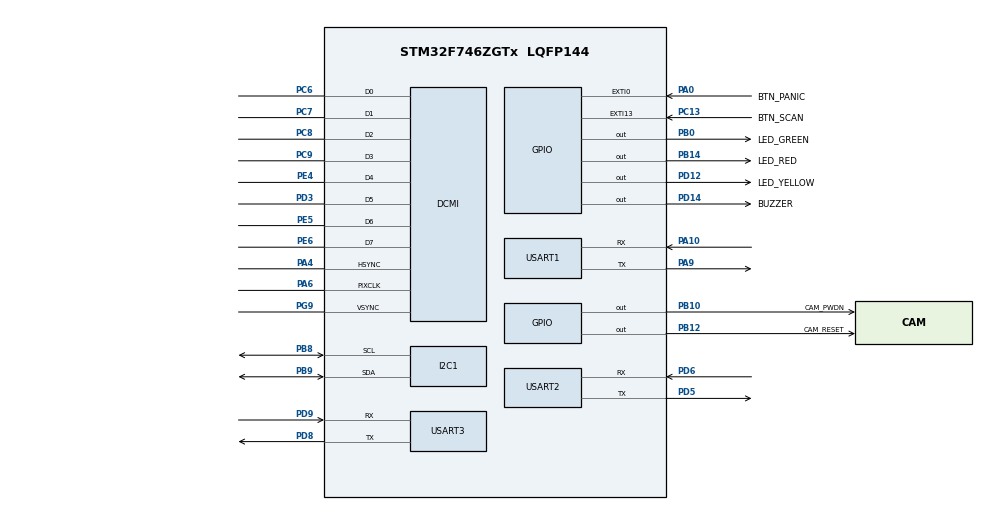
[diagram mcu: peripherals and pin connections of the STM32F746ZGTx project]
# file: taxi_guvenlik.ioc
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CORTEX_M7.default_mode_Activation=1
Dma.DCMI.0.Direction=DMA_PERIPH_TO_MEMORY
Dma.DCMI.0.FIFOMode=DMA_FIFOMODE_ENABLE
Dma.DCMI.0.FIFOThreshold=DMA_FIFO_THRESHOLD_FULL
Dma.DCMI.0.Instance=DMA2_Stream1
Dma.DCMI.0.MemBurst=DMA_MBURST_SINGLE
Dma.DCMI.0.MemDataAlignment=DMA_MDATAALIGN_WORD
Dma.DCMI.0.MemInc=DMA_MINC_ENABLE
Dma.DCMI.0.Mode=DMA_NORMAL
Dma.DCMI.0.PeriphBurst=DMA_PBURST_SINGLE
Dma.DCMI.0.PeriphDataAlignment=DMA_PDATAALIGN_WORD
Dma.DCMI.0.PeriphInc=DMA_PINC_DISABLE
Dma.DCMI.0.Priority=DMA_PRIORITY_HIGH
Dma.Request0=DCMI
Mcu.Family=STM32F7
Mcu.Name=STM32F746ZGTx
Mcu.Package=LQFP144
NVIC.DCMI_IRQn=true\:0\:0\:false\:false\:true\:true\:true\:true
NVIC.DMA2_Stream1_IRQn=true\:0\:0\:false\:false\:true\:false\:true\:true
NVIC.EXTI0_IRQn=true\:0\:0\:false\:false\:true\:true\:true\:true
NVIC.EXTI15_10_IRQn=true\:0\:0\:false\:false\:true\:true\:true\:true
NVIC.PriorityGroup=NVIC_PRIORITYGROUP_4
NVIC.USART1_IRQn=true\:0\:0\:false\:false\:true\:true\:true\:true
NVIC.USART2_IRQn=true\:0\:0\:false\:false\:true\:true\:true\:true
NVIC.USART3_IRQn=true\:0\:0\:false\:false\:true\:true\:true\:true
PA0/WKUP.GPIO_Label=BTN_PANIC
PA0/WKUP.Signal=GPXTI0
PA10.Mode=Asynchronous
PA10.Signal=USART1_RX
PA4.Mode=Slave_8_bits_External_Synchro
PA4.Signal=DCMI_HSYNC
PA6.Mode=Slave_8_bits_External_Synchro
PA6.Signal=DCMI_PIXCLK
PA9.Mode=Asynchronous
PA9.Signal=USART1_TX
PB0.GPIO_Label=LED_GREEN
PB0.Signal=GPIO_Output
PB10.GPIO_Label=CAM_PWDN
PB10.Signal=GPIO_Output
PB12.GPIO_Label=CAM_RESET
PB12.Signal=GPIO_Output
PB14.GPIO_Label=LED_RED
PB14.Signal=GPIO_Output
PB8.Mode=I2C
PB8.Signal=I2C1_SCL
PB9.Mode=I2C
PB9.Signal=I2C1_SDA
PC13.GPIO_Label=BTN_SCAN
PC13.Signal=GPXTI13
PC6.Mode=Slave_8_bits_External_Synchro
PC6.Signal=DCMI_D0
PC7.Mode=Slave_8_bits_External_Synchro
PC7.Signal=DCMI_D1
PC8.Mode=Slave_8_bits_External_Synchro
PC8.Signal=DCMI_D2
PC9.Mode=Slave_8_bits_External_Synchro
PC9.Signal=DCMI_D3
PD12.GPIO_Label=LED_YELLOW
PD12.Signal=GPIO_Output
PD14.GPIO_Label=BUZZER
PD14.Signal=GPIO_Output
PD3.Mode=Slave_8_bits_External_Synchro
PD3.Signal=DCMI_D5
PD5.Mode=Asynchronous
PD5.Signal=USART2_TX
PD6.Mode=Asynchronous
PD6.Signal=USART2_RX
PD8.Mode=Asynchronous
PD8.Signal=USART3_TX
PD9.Mode=Asynchronous
PD9.Signal=USART3_RX
PE4.Mode=Slave_8_bits_External_Synchro
PE4.Signal=DCMI_D4
PE5.Mode=Slave_8_bits_External_Synchro
PE5.Signal=DCMI_D6
PE6.Mode=Slave_8_bits_External_Synchro
PE6.Signal=DCMI_D7
PG9.Mode=Slave_8_bits_External_Synchro
PG9.Signal=DCMI_VSYNC
ProjectManager.HeapSize=0x200
ProjectManager.StackSize=0x400
ProjectManager.TargetToolchain=STM32CubeIDE
RCC.HSE_VALUE=25000000
RCC.HSI_VALUE=16000000
RCC.LSE_VALUE=32768
RCC.USBFreq_Value=96000000
RCC.VCOOutputFreq_Value=192000000
USART1.VirtualMode-Asynchronous=VM_ASYNC
USART2.VirtualMode-Asynchronous=VM_ASYNC
USART3.VirtualMode-Asynchronous=VM_ASYNC
board=custom

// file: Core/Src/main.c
/* USER CODE BEGIN Header */
/**
  ******************************************************************************
  * @file           : main.c
  * @brief          : Main program body
  ******************************************************************************
  * @attention
  *
  * Copyright (c) 2026 STMicroelectronics.
  * All rights reserved.
  *
  * This software is licensed under terms that can be found in the LICENSE file
  * in the root directory of this software component.
  * If no LICENSE file comes with this software, it is provided AS-IS.
  *
  ******************************************************************************
  */
/* USER CODE END Header */
#include "main.h"

/* USER CODE BEGIN Includes */
#include <stdio.h>
#include <stdlib.h>
#include <string.h>
#include <stdbool.h>
/* USER CODE END Includes */

DCMI_HandleTypeDef hdcmi;
DMA_HandleTypeDef hdma_dcmi;

I2C_HandleTypeDef hi2c1;

UART_HandleTypeDef huart1;
UART_HandleTypeDef huart2;
UART_HandleTypeDef huart3;

/* USER CODE BEGIN PV */

/* Application state machine. Single-passenger flow: TARA → SCAN → MATCH/NOMATCH → IDLE.
 * PANIC button bypasses scan and goes straight to alert. */
typedef enum {
    STATE_IDLE = 0,
    STATE_SCANNING,
    STATE_MATCH,
    STATE_NOMATCH,
    STATE_PANIC,
    STATE_NETERR,
} app_state_t;

static volatile app_state_t app_state = STATE_IDLE;
static uint32_t state_entered_ms = 0;
static char match_name[48] = {0};
static float match_sim = 0.0f;

/* USART6 = ESP32-CAM uplink. We hand-configure USART6 instead of CubeMX's
 * USART1 because PG14/PG9 are wired to the NUCLEO-F767ZI Arduino D1/D0
 * silkscreen pads — far easier for users to identify than the Morpho-only
 * PA9/PA10. huart1 stays initialized by CubeMX (no harm) but is unused. */
UART_HandleTypeDef huart6;
static uint8_t cam_rxb = 0;
static char cam_line[96];
static volatile size_t cam_idx = 0;
static volatile bool cam_line_ready = false;

/* Pending event flags set from EXTI ISR, consumed in main loop. */
static volatile bool flag_tara = false;
static volatile bool flag_panic = false;

#define SCAN_TIMEOUT_MS    15000  /* ESP-CAM should answer within this. */
#define MATCH_HOLD_MS       5000  /* How long to hold red+buzzer on MATCH. */
#define NOMATCH_HOLD_MS     1000
#define PANIC_HOLD_MS       5000
#define NETERR_HOLD_MS      3000

/* USER CODE END PV */

void SystemClock_Config(void);
static void MPU_Config(void);
static void MX_GPIO_Init(void);
static void MX_DMA_Init(void);
static void MX_DCMI_Init(void);
static void MX_I2C1_Init(void);
static void MX_USART1_UART_Init(void);
static void MX_USART2_UART_Init(void);
static void MX_USART3_UART_Init(void);
/* USER CODE BEGIN PFP */
static void SystemClock_Config_216MHz(void);
static void uart_set_baud(UART_HandleTypeDef *huart, uint32_t baud);
static void MX_USART6_UART_Init_Manual(void);  /* hand-rolled USART6 setup */
static void enter_state(app_state_t s);
static void apply_state_outputs(app_state_t s);
static void send_cam(const char *line);     /* USART6 (Arduino D0/D1) → ESP32-CAM */
static void send_phone(const char *line);   /* USART2 → HM-10 → Android */
static void process_cam_line(const char *line);
int _write(int fd, char *ptr, int len);     /* printf retarget to USART3 */
/* USER CODE END PFP */

int main(void)
{

  /* MPU Configuration--------------------------------------------------------*/
  MPU_Config();

  /* MCU Configuration--------------------------------------------------------*/

  /* Reset of all peripherals, Initializes the Flash interface and the Systick. */
  HAL_Init();

  /* Configure the system clock */
  SystemClock_Config();           /* CubeMX baseline (HSI 16 MHz, no PLL) */
  SystemClock_Config_216MHz();    /* HSI × PLL → 216 MHz */

  /* Initialize all configured peripherals */
  MX_GPIO_Init();
  MX_DMA_Init();
  MX_DCMI_Init();
  MX_I2C1_Init();
  MX_USART1_UART_Init();
  MX_USART2_UART_Init();
  MX_USART3_UART_Init();
  /* USER CODE BEGIN 2 */

  /* USART baud overrides — CubeMX hard-codes 115200 across the board.
   *   USART2 → HM-10 BLE      : 9600   (HM-10 default)
   *   USART3 → ST-LINK VCP    : 115200 (printf debug, unchanged)
   *   USART6 → ESP32-CAM      : configured below at 115200, Arduino D0/D1 pins
   * huart1 is left at 115200 by CubeMX; we don't use it (kept to avoid touching
   * generated MX_USART1_UART_Init).
   */
  uart_set_baud(&huart2, 9600);
  uart_set_baud(&huart3, 115200);
  MX_USART6_UART_Init_Manual();

  /* Configure onboard LD2 blue LED (PB7) as heartbeat — visible without
   * external wiring. CubeMX didn't map PB7. */
  {
      GPIO_InitTypeDef gp = {0};
      gp.Pin = GPIO_PIN_7;
      gp.Mode = GPIO_MODE_OUTPUT_PP;
      gp.Pull = GPIO_NOPULL;
      gp.Speed = GPIO_SPEED_FREQ_LOW;
      HAL_GPIO_Init(GPIOB, &gp);
  }

  setvbuf(stdout, NULL, _IONBF, 0);
  printf("\r\n[STM] boot, HCLK=%lu Hz, plan-B (esp-cam slave)\r\n",
         HAL_RCC_GetHCLKFreq());

  /* Camera control pins are no longer wired to anything in Plan B but the
   * GPIO outputs still exist (CubeMX-generated). Leave them low/idle. */
  HAL_GPIO_WritePin(CAM_PWDN_GPIO_Port, CAM_PWDN_Pin, GPIO_PIN_RESET);
  HAL_GPIO_WritePin(CAM_RESET_GPIO_Port, CAM_RESET_Pin, GPIO_PIN_RESET);

  /* Start USART6 line reception from ESP32-CAM (Arduino D0 = PG9 RX). */
  HAL_UART_Receive_IT(&huart6, &cam_rxb, 1);

  enter_state(STATE_IDLE);
  /* USER CODE END 2 */

  /* Infinite loop */
  /* USER CODE BEGIN WHILE */
  while (1)
  {
    /* Heartbeat for "firmware alive" — blink LD2 (PB7) every 500 ms. */
    static uint32_t last_blink = 0;
    uint32_t now = HAL_GetTick();
    if (now - last_blink >= 500) {
        HAL_GPIO_TogglePin(GPIOB, GPIO_PIN_7);
        last_blink = now;
    }

    /* Button events from EXTI. */
    if (flag_panic) {
        flag_panic = false;
        printf("[STM] PANIC button pressed\r\n");
        send_phone("PANIC\n");
        enter_state(STATE_PANIC);
    }
    if (flag_tara) {
        flag_tara = false;
        if (app_state == STATE_IDLE) {
            printf("[STM] TARA pressed, requesting capture\r\n");
            send_phone("SCANNING\n");
            send_cam("CAPTURE\n");
            enter_state(STATE_SCANNING);
        } else {
            printf("[STM] TARA ignored (state=%d)\r\n", app_state);
        }
    }

    /* ESP32-CAM lines on USART6 (Arduino D0 RX). */
    if (cam_line_ready) {
        process_cam_line(cam_line);
        cam_idx = 0;
        cam_line_ready = false;
    }

    /* Scan timeout: if ESP-CAM doesn't answer in time, drop to NETERR. */
    if (app_state == STATE_SCANNING &&
        (now - state_entered_ms) > SCAN_TIMEOUT_MS) {
        printf("[STM] scan timeout\r\n");
        send_phone("NETERR\n");
        enter_state(STATE_NETERR);
    }

    /* Auto-return to IDLE after hold period for transient states. */
    uint32_t elapsed = now - state_entered_ms;
    if ((app_state == STATE_MATCH   && elapsed > MATCH_HOLD_MS)   ||
        (app_state == STATE_NOMATCH && elapsed > NOMATCH_HOLD_MS) ||
        (app_state == STATE_PANIC   && elapsed > PANIC_HOLD_MS)   ||
        (app_state == STATE_NETERR  && elapsed > NETERR_HOLD_MS)) {
        enter_state(STATE_IDLE);
    }
    /* USER CODE END WHILE */

  }
}

void SystemClock_Config(void)
{
  RCC_OscInitTypeDef RCC_OscInitStruct = {0};
  RCC_ClkInitTypeDef RCC_ClkInitStruct = {0};

  /** Configure the main internal regulator output voltage
  */
  __HAL_RCC_PWR_CLK_ENABLE();
  __HAL_PWR_VOLTAGESCALING_CONFIG(PWR_REGULATOR_VOLTAGE_SCALE3);

  /** Initializes the RCC Oscillators according to the specified parameters
  * in the RCC_OscInitTypeDef structure.
  */
  RCC_OscInitStruct.OscillatorType = RCC_OSCILLATORTYPE_HSI;
  RCC_OscInitStruct.HSIState = RCC_HSI_ON;
  RCC_OscInitStruct.HSICalibrationValue = RCC_HSICALIBRATION_DEFAULT;
  RCC_OscInitStruct.PLL.PLLState = RCC_PLL_NONE;
  if (HAL_RCC_OscConfig(&RCC_OscInitStruct) != HAL_OK)
  {
    Error_Handler();
  }

  /** Initializes the CPU, AHB and APB buses clocks
  */
  RCC_ClkInitStruct.ClockType = RCC_CLOCKTYPE_HCLK|RCC_CLOCKTYPE_SYSCLK
                              |RCC_CLOCKTYPE_PCLK1|RCC_CLOCKTYPE_PCLK2;
  RCC_ClkInitStruct.SYSCLKSource = RCC_SYSCLKSOURCE_HSI;
  RCC_ClkInitStruct.AHBCLKDivider = RCC_SYSCLK_DIV1;
  RCC_ClkInitStruct.APB1CLKDivider = RCC_HCLK_DIV1;
  RCC_ClkInitStruct.APB2CLKDivider = RCC_HCLK_DIV1;

  if (HAL_RCC_ClockConfig(&RCC_ClkInitStruct, FLASH_LATENCY_0) != HAL_OK)
  {
    Error_Handler();
  }
}

static void MX_DCMI_Init(void)
{

  hdcmi.Instance = DCMI;
  hdcmi.Init.SynchroMode = DCMI_SYNCHRO_HARDWARE;
  hdcmi.Init.PCKPolarity = DCMI_PCKPOLARITY_FALLING;
  hdcmi.Init.VSPolarity = DCMI_VSPOLARITY_LOW;
  hdcmi.Init.HSPolarity = DCMI_HSPOLARITY_LOW;
  hdcmi.Init.CaptureRate = DCMI_CR_ALL_FRAME;
  hdcmi.Init.ExtendedDataMode = DCMI_EXTEND_DATA_8B;
  hdcmi.Init.JPEGMode = DCMI_JPEG_DISABLE;
  hdcmi.Init.ByteSelectMode = DCMI_BSM_ALL;
  hdcmi.Init.ByteSelectStart = DCMI_OEBS_ODD;
  hdcmi.Init.LineSelectMode = DCMI_LSM_ALL;
  hdcmi.Init.LineSelectStart = DCMI_OELS_ODD;
  if (HAL_DCMI_Init(&hdcmi) != HAL_OK)
  {
    Error_Handler();
  }

}

static void MX_I2C1_Init(void)
{

  hi2c1.Instance = I2C1;
  hi2c1.Init.Timing = 0x00303D5B;
  hi2c1.Init.OwnAddress1 = 0;
  hi2c1.Init.AddressingMode = I2C_ADDRESSINGMODE_7BIT;
  hi2c1.Init.DualAddressMode = I2C_DUALADDRESS_DISABLE;
  hi2c1.Init.OwnAddress2 = 0;
  hi2c1.Init.OwnAddress2Masks = I2C_OA2_NOMASK;
  hi2c1.Init.GeneralCallMode = I2C_GENERALCALL_DISABLE;
  hi2c1.Init.NoStretchMode = I2C_NOSTRETCH_DISABLE;
  if (HAL_I2C_Init(&hi2c1) != HAL_OK)
  {
    Error_Handler();
  }

  /** Configure Analogue filter
  */
  if (HAL_I2CEx_ConfigAnalogFilter(&hi2c1, I2C_ANALOGFILTER_ENABLE) != HAL_OK)
  {
    Error_Handler();
  }

  /** Configure Digital filter
  */
  if (HAL_I2CEx_ConfigDigitalFilter(&hi2c1, 0) != HAL_OK)
  {
    Error_Handler();
  }

}

static void MX_USART1_UART_Init(void)
{

  huart1.Instance = USART1;
  huart1.Init.BaudRate = 115200;
  huart1.Init.WordLength = UART_WORDLENGTH_8B;
  huart1.Init.StopBits = UART_STOPBITS_1;
  huart1.Init.Parity = UART_PARITY_NONE;
  huart1.Init.Mode = UART_MODE_TX_RX;
  huart1.Init.HwFlowCtl = UART_HWCONTROL_NONE;
  huart1.Init.OverSampling = UART_OVERSAMPLING_16;
  huart1.Init.OneBitSampling = UART_ONE_BIT_SAMPLE_DISABLE;
  huart1.AdvancedInit.AdvFeatureInit = UART_ADVFEATURE_NO_INIT;
  if (HAL_UART_Init(&huart1) != HAL_OK)
  {
    Error_Handler();
  }

}

static void MX_USART2_UART_Init(void)
{

  huart2.Instance = USART2;
  huart2.Init.BaudRate = 115200;
  huart2.Init.WordLength = UART_WORDLENGTH_8B;
  huart2.Init.StopBits = UART_STOPBITS_1;
  huart2.Init.Parity = UART_PARITY_NONE;
  huart2.Init.Mode = UART_MODE_TX_RX;
  huart2.Init.HwFlowCtl = UART_HWCONTROL_NONE;
  huart2.Init.OverSampling = UART_OVERSAMPLING_16;
  huart2.Init.OneBitSampling = UART_ONE_BIT_SAMPLE_DISABLE;
  huart2.AdvancedInit.AdvFeatureInit = UART_ADVFEATURE_NO_INIT;
  if (HAL_UART_Init(&huart2) != HAL_OK)
  {
    Error_Handler();
  }

}

static void MX_USART3_UART_Init(void)
{

  huart3.Instance = USART3;
  huart3.Init.BaudRate = 115200;
  huart3.Init.WordLength = UART_WORDLENGTH_8B;
  huart3.Init.StopBits = UART_STOPBITS_1;
  huart3.Init.Parity = UART_PARITY_NONE;
  huart3.Init.Mode = UART_MODE_TX_RX;
  huart3.Init.HwFlowCtl = UART_HWCONTROL_NONE;
  huart3.Init.OverSampling = UART_OVERSAMPLING_16;
  huart3.Init.OneBitSampling = UART_ONE_BIT_SAMPLE_DISABLE;
  huart3.AdvancedInit.AdvFeatureInit = UART_ADVFEATURE_NO_INIT;
  if (HAL_UART_Init(&huart3) != HAL_OK)
  {
    Error_Handler();
  }

}

static void MX_DMA_Init(void)
{

  /* DMA controller clock enable */
  __HAL_RCC_DMA2_CLK_ENABLE();

  /* DMA interrupt init */
  /* DMA2_Stream1_IRQn interrupt configuration */
  HAL_NVIC_SetPriority(DMA2_Stream1_IRQn, 0, 0);
  HAL_NVIC_EnableIRQ(DMA2_Stream1_IRQn);

}

static void MX_GPIO_Init(void)
{
  GPIO_InitTypeDef GPIO_InitStruct = {0};

  /* GPIO Ports Clock Enable */
  __HAL_RCC_GPIOE_CLK_ENABLE();
  __HAL_RCC_GPIOC_CLK_ENABLE();
  __HAL_RCC_GPIOA_CLK_ENABLE();
  __HAL_RCC_GPIOB_CLK_ENABLE();
  __HAL_RCC_GPIOD_CLK_ENABLE();
  __HAL_RCC_GPIOG_CLK_ENABLE();

  /*Configure GPIO pin Output Level */
  HAL_GPIO_WritePin(GPIOB, LED_GREEN_Pin|CAM_PWDN_Pin|CAM_RESET_Pin|LED_RED_Pin, GPIO_PIN_RESET);

  /*Configure GPIO pin Output Level */
  HAL_GPIO_WritePin(GPIOD, LED_YELLOW_Pin|BUZZER_Pin, GPIO_PIN_RESET);

  /*Configure GPIO pin : BTN_SCAN_Pin */
  GPIO_InitStruct.Pin = BTN_SCAN_Pin;
  GPIO_InitStruct.Mode = GPIO_MODE_IT_RISING;
  GPIO_InitStruct.Pull = GPIO_NOPULL;
  HAL_GPIO_Init(BTN_SCAN_GPIO_Port, &GPIO_InitStruct);

  /*Configure GPIO pin : BTN_PANIC_Pin */
  GPIO_InitStruct.Pin = BTN_PANIC_Pin;
  GPIO_InitStruct.Mode = GPIO_MODE_IT_RISING;
  GPIO_InitStruct.Pull = GPIO_NOPULL;
  HAL_GPIO_Init(BTN_PANIC_GPIO_Port, &GPIO_InitStruct);

  /*Configure GPIO pins : LED_GREEN_Pin CAM_PWDN_Pin CAM_RESET_Pin LED_RED_Pin */
  GPIO_InitStruct.Pin = LED_GREEN_Pin|CAM_PWDN_Pin|CAM_RESET_Pin|LED_RED_Pin;
  GPIO_InitStruct.Mode = GPIO_MODE_OUTPUT_PP;
  GPIO_InitStruct.Pull = GPIO_NOPULL;
  GPIO_InitStruct.Speed = GPIO_SPEED_FREQ_LOW;
  HAL_GPIO_Init(GPIOB, &GPIO_InitStruct);

  /*Configure GPIO pins : LED_YELLOW_Pin BUZZER_Pin */
  GPIO_InitStruct.Pin = LED_YELLOW_Pin|BUZZER_Pin;
  GPIO_InitStruct.Mode = GPIO_MODE_OUTPUT_PP;
  GPIO_InitStruct.Pull = GPIO_NOPULL;
  GPIO_InitStruct.Speed = GPIO_SPEED_FREQ_LOW;
  HAL_GPIO_Init(GPIOD, &GPIO_InitStruct);

  /* EXTI interrupt init*/
  HAL_NVIC_SetPriority(EXTI0_IRQn, 0, 0);
  HAL_NVIC_EnableIRQ(EXTI0_IRQn);

  HAL_NVIC_SetPriority(EXTI15_10_IRQn, 0, 0);
  HAL_NVIC_EnableIRQ(EXTI15_10_IRQn);

}

/* USER CODE BEGIN 4 */

/* HSI 16 MHz + PLL → 216 MHz HCLK with overdrive.
 *
 * Previous attempt used HSE bypass off NUCLEO's 8 MHz MCO. That worked
 * electrically but HAL's HSE_VALUE macro is hard-coded to 25 MHz in
 * stm32f7xx_hal_conf.h, so HAL_RCC_GetSysClockFreq() returned ~675 MHz and
 * every BRR/timer calculation derived from SystemCoreClock was off by ~3x.
 * Switching to HSI as the PLL source removes that dependency entirely —
 * HSI_VALUE matches the hardware and clock calculations stay correct.
 *
 * HSI = 16 MHz, PLLM = 16 → 1 MHz reference, PLLN = 432 → 432 MHz VCO,
 * PLLP = 2 → SYSCLK = 216 MHz. PLLQ = 9 → 48 MHz (USB OTG, unused).
 * APB1 = HCLK/4 = 54 MHz, APB2 = HCLK/2 = 108 MHz, Flash 7 wait states.
 */
static void SystemClock_Config_216MHz(void) {
    RCC_OscInitTypeDef osc = {0};
    RCC_ClkInitTypeDef clk = {0};

    __HAL_RCC_PWR_CLK_ENABLE();
    __HAL_PWR_VOLTAGESCALING_CONFIG(PWR_REGULATOR_VOLTAGE_SCALE1);

    osc.OscillatorType = RCC_OSCILLATORTYPE_HSI;
    osc.HSIState = RCC_HSI_ON;
    osc.HSICalibrationValue = RCC_HSICALIBRATION_DEFAULT;
    osc.PLL.PLLState = RCC_PLL_ON;
    osc.PLL.PLLSource = RCC_PLLSOURCE_HSI;
    osc.PLL.PLLM = 16;
    osc.PLL.PLLN = 432;
    osc.PLL.PLLP = RCC_PLLP_DIV2;
    osc.PLL.PLLQ = 9;
    if (HAL_RCC_OscConfig(&osc) != HAL_OK) {
        Error_Handler();
    }
    if (HAL_PWREx_EnableOverDrive() != HAL_OK) {
        Error_Handler();
    }

    clk.ClockType = RCC_CLOCKTYPE_HCLK | RCC_CLOCKTYPE_SYSCLK |
                    RCC_CLOCKTYPE_PCLK1 | RCC_CLOCKTYPE_PCLK2;
    clk.SYSCLKSource = RCC_SYSCLKSOURCE_PLLCLK;
    clk.AHBCLKDivider = RCC_SYSCLK_DIV1;
    clk.APB1CLKDivider = RCC_HCLK_DIV4;
    clk.APB2CLKDivider = RCC_HCLK_DIV2;
    if (HAL_RCC_ClockConfig(&clk, FLASH_LATENCY_7) != HAL_OK) {
        Error_Handler();
    }

    SystemCoreClockUpdate();  /* re-derive SystemCoreClock from RCC registers */
}

/* Re-init a UART with a different baud rate without touching anything else.
 * Used to override CubeMX's default 115200 on USART1 (→921600 for ESP32)
 * and USART2 (→9600 for HM-10). */
static void uart_set_baud(UART_HandleTypeDef *huart, uint32_t baud) {
    HAL_UART_DeInit(huart);
    huart->Init.BaudRate = baud;
    HAL_UART_Init(huart);
}

/* printf retarget. Newlib-nano _write goes to USART3 (ST-LINK VCP), so anything
 * printed from firmware shows up on /dev/tty.usbmodemXXXX at 115200 8N1. */
int _write(int fd, char *ptr, int len) {
    (void)fd;
    HAL_UART_Transmit(&huart3, (uint8_t *)ptr, len, 100);
    return len;
}

/* ─── state machine ─── */

static void apply_state_outputs(app_state_t s) {
    /* Reset everything, then set what this state wants on. */
    HAL_GPIO_WritePin(LED_GREEN_GPIO_Port,  LED_GREEN_Pin,  GPIO_PIN_RESET);
    HAL_GPIO_WritePin(LED_RED_GPIO_Port,    LED_RED_Pin,    GPIO_PIN_RESET);
    HAL_GPIO_WritePin(LED_YELLOW_GPIO_Port, LED_YELLOW_Pin, GPIO_PIN_RESET);
    HAL_GPIO_WritePin(BUZZER_GPIO_Port,     BUZZER_Pin,     GPIO_PIN_RESET);

    switch (s) {
    case STATE_IDLE:
        HAL_GPIO_WritePin(LED_GREEN_GPIO_Port, LED_GREEN_Pin, GPIO_PIN_SET);
        break;
    case STATE_SCANNING:
        HAL_GPIO_WritePin(LED_YELLOW_GPIO_Port, LED_YELLOW_Pin, GPIO_PIN_SET);
        break;
    case STATE_MATCH:
    case STATE_PANIC:
        HAL_GPIO_WritePin(LED_RED_GPIO_Port, LED_RED_Pin, GPIO_PIN_SET);
        HAL_GPIO_WritePin(BUZZER_GPIO_Port,  BUZZER_Pin,  GPIO_PIN_SET);
        break;
    case STATE_NOMATCH:
        HAL_GPIO_WritePin(LED_GREEN_GPIO_Port, LED_GREEN_Pin, GPIO_PIN_SET);
        break;
    case STATE_NETERR:
        HAL_GPIO_WritePin(LED_YELLOW_GPIO_Port, LED_YELLOW_Pin, GPIO_PIN_SET);
        HAL_GPIO_WritePin(LED_RED_GPIO_Port,    LED_RED_Pin,    GPIO_PIN_SET);
        break;
    }
}

static void enter_state(app_state_t s) {
    app_state = s;
    state_entered_ms = HAL_GetTick();
    apply_state_outputs(s);
    static const char *names[] = {
        "IDLE","SCANNING","MATCH","NOMATCH","PANIC","NETERR"
    };
    printf("[STM] -> %s\r\n", names[s]);
}

static void send_cam(const char *line) {
    HAL_UART_Transmit(&huart6, (uint8_t*)line, strlen(line), 200);
}

static void send_phone(const char *line) {
    /* Plan B v2: HM-10 is gone. Phone messages now go to ESP32-CAM over the
     * same USART6 link as CAPTURE; ESP-CAM forwards them as BLE notifications
     * on FFE0/FFE1, replacing the HM-10 path. */
    HAL_UART_Transmit(&huart6, (uint8_t*)line, strlen(line), 200);
}

/* Parse a single line received from ESP32-CAM and drive state machine. */
static void process_cam_line(const char *line) {
    printf("[STM] cam: %s\r\n", line);

    if (strncmp(line, "RESULT:", 7) == 0) {
        /* Format: RESULT:<1|0>;<name>;<sim> */
        int matched = 0;
        char name[48] = {0};
        float sim = 0.0f;
        const char *p = line + 7;
        matched = (*p == '1') ? 1 : 0;
        p = strchr(p, ';');
        if (p) {
            p++;
            const char *q = strchr(p, ';');
            if (q) {
                size_t n = (size_t)(q - p);
                if (n >= sizeof(name)) n = sizeof(name) - 1;
                memcpy(name, p, n);
                name[n] = '\0';
                sim = strtof(q + 1, NULL);
            }
        }

        if (matched) {
            strncpy(match_name, name, sizeof(match_name) - 1);
            match_sim = sim;
            char phone_msg[80];
            snprintf(phone_msg, sizeof(phone_msg),
                     "MATCH:%s;%.2f\n", match_name, match_sim);
            send_phone(phone_msg);
            enter_state(STATE_MATCH);
        } else {
            send_phone("NOMATCH\n");
            enter_state(STATE_NOMATCH);
        }
    } else if (strncmp(line, "ERR:", 4) == 0) {
        send_phone("NETERR\n");
        enter_state(STATE_NETERR);
    } else if (strncmp(line, "HB", 2) == 0) {
        /* ESP-CAM heartbeat, no action needed. */
    } else {
        /* Unknown — ignore. */
    }
}

/* HAL callbacks (weak in HAL, overridden here) */

void HAL_UART_RxCpltCallback(UART_HandleTypeDef *huart) {
    if (huart == &huart6) {
        char c = (char)cam_rxb;
        if (c == '\n' || c == '\r') {
            if (cam_idx > 0 && !cam_line_ready) {
                cam_line[cam_idx] = '\0';
                cam_line_ready = true;
            }
        } else if (cam_idx < sizeof(cam_line) - 1) {
            cam_line[cam_idx++] = c;
        } else {
            cam_idx = 0;
        }
        HAL_UART_Receive_IT(&huart6, &cam_rxb, 1);
    }
}

void HAL_UART_ErrorCallback(UART_HandleTypeDef *huart) {
    if (huart == &huart6) {
        cam_idx = 0;
        cam_line_ready = false;
        HAL_UART_Receive_IT(&huart6, &cam_rxb, 1);
    }
}

/* ─── USART6 manual init (Arduino D0=PG9 RX, D1=PG14 TX) ─── */
static void MX_USART6_UART_Init_Manual(void) {
    __HAL_RCC_USART6_CLK_ENABLE();
    __HAL_RCC_GPIOG_CLK_ENABLE();

    GPIO_InitTypeDef g = {0};
    g.Pin = GPIO_PIN_9 | GPIO_PIN_14;
    g.Mode = GPIO_MODE_AF_PP;
    g.Pull = GPIO_NOPULL;
    g.Speed = GPIO_SPEED_FREQ_VERY_HIGH;
    g.Alternate = GPIO_AF8_USART6;
    HAL_GPIO_Init(GPIOG, &g);

    HAL_NVIC_SetPriority(USART6_IRQn, 0, 0);
    HAL_NVIC_EnableIRQ(USART6_IRQn);

    huart6.Instance = USART6;
    huart6.Init.BaudRate = 115200;
    huart6.Init.WordLength = UART_WORDLENGTH_8B;
    huart6.Init.StopBits = UART_STOPBITS_1;
    huart6.Init.Parity = UART_PARITY_NONE;
    huart6.Init.Mode = UART_MODE_TX_RX;
    huart6.Init.HwFlowCtl = UART_HWCONTROL_NONE;
    huart6.Init.OverSampling = UART_OVERSAMPLING_16;
    huart6.Init.OneBitSampling = UART_ONE_BIT_SAMPLE_DISABLE;
    huart6.AdvancedInit.AdvFeatureInit = UART_ADVFEATURE_NO_INIT;
    if (HAL_UART_Init(&huart6) != HAL_OK) {
        Error_Handler();
    }
}

/* USART6 ISR — CubeMX didn't generate one because USART6 wasn't in the .ioc.
 * Defining it here overrides the weak default in startup_stm32f767zitx.s. */
void USART6_IRQHandler(void) {
    HAL_UART_IRQHandler(&huart6);
}

void HAL_GPIO_EXTI_Callback(uint16_t pin) {
    if (pin == BTN_SCAN_Pin) {
        flag_tara = true;
    } else if (pin == BTN_PANIC_Pin) {
        flag_panic = true;
    }
}

/* USER CODE END 4 */

 /* MPU Configuration */

void MPU_Config(void)
{
  MPU_Region_InitTypeDef MPU_InitStruct = {0};

  /* Disables the MPU */
  HAL_MPU_Disable();

  /** Initializes and configures the Region and the memory to be protected
  */
  MPU_InitStruct.Enable = MPU_REGION_ENABLE;
  MPU_InitStruct.Number = MPU_REGION_NUMBER0;
  MPU_InitStruct.BaseAddress = 0x0;
  MPU_InitStruct.Size = MPU_REGION_SIZE_4GB;
  MPU_InitStruct.SubRegionDisable = 0x87;
  MPU_InitStruct.TypeExtField = MPU_TEX_LEVEL0;
  MPU_InitStruct.AccessPermission = MPU_REGION_NO_ACCESS;
  MPU_InitStruct.DisableExec = MPU_INSTRUCTION_ACCESS_DISABLE;
  MPU_InitStruct.IsShareable = MPU_ACCESS_SHAREABLE;
  MPU_InitStruct.IsCacheable = MPU_ACCESS_NOT_CACHEABLE;
  MPU_InitStruct.IsBufferable = MPU_ACCESS_NOT_BUFFERABLE;

  HAL_MPU_ConfigRegion(&MPU_InitStruct);
  /* Enables the MPU */
  HAL_MPU_Enable(MPU_PRIVILEGED_DEFAULT);

}

void Error_Handler(void)
{
  __disable_irq();
  while (1)
  {
  }
}
